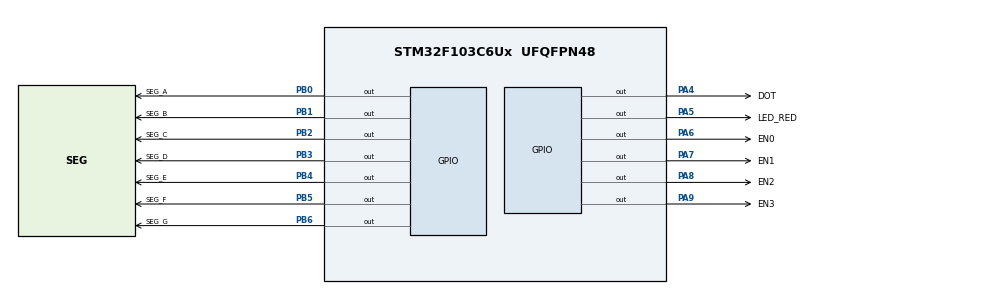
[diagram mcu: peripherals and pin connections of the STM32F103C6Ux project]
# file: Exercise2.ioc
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Mcu.Family=STM32F1
Mcu.Name=STM32F103C6Ux
Mcu.Package=UFQFPN48
NVIC.PriorityGroup=NVIC_PRIORITYGROUP_4
NVIC.TIM2_IRQn=true\:0\:0\:false\:false\:true\:true\:true
PA4.GPIO_Label=DOT
PA4.PinState=GPIO_PIN_SET
PA4.Signal=GPIO_Output
PA5.GPIO_Label=LED_RED
PA5.PinState=GPIO_PIN_SET
PA5.Signal=GPIO_Output
PA6.GPIO_Label=EN0
PA6.PinState=GPIO_PIN_SET
PA6.Signal=GPIO_Output
PA7.GPIO_Label=EN1
PA7.PinState=GPIO_PIN_SET
PA7.Signal=GPIO_Output
PA8.GPIO_Label=EN2
PA8.PinState=GPIO_PIN_SET
PA8.Signal=GPIO_Output
PA9.GPIO_Label=EN3
PA9.PinState=GPIO_PIN_SET
PA9.Signal=GPIO_Output
PB0.GPIO_Label=SEG_A
PB0.PinState=GPIO_PIN_SET
PB0.Signal=GPIO_Output
PB1.GPIO_Label=SEG_B
PB1.PinState=GPIO_PIN_SET
PB1.Signal=GPIO_Output
PB2.GPIO_Label=SEG_C
PB2.PinState=GPIO_PIN_SET
PB2.Signal=GPIO_Output
PB3.GPIO_Label=SEG_D
PB3.PinState=GPIO_PIN_SET
PB3.Signal=GPIO_Output
PB4.GPIO_Label=SEG_E
PB4.PinState=GPIO_PIN_SET
PB4.Signal=GPIO_Output
PB5.GPIO_Label=SEG_F
PB5.PinState=GPIO_PIN_SET
PB5.Signal=GPIO_Output
PB6.GPIO_Label=SEG_G
PB6.PinState=GPIO_PIN_SET
PB6.Signal=GPIO_Output
ProjectManager.HeapSize=0x200
ProjectManager.StackSize=0x400
ProjectManager.TargetToolchain=STM32CubeIDE
RCC.APB1Freq_Value=8000000
RCC.APB2Freq_Value=8000000
TIM2.Period=9
TIM2.Prescaler=7999
VP_SYS_VS_ND.Mode=No_Debug
VP_TIM2_VS_ClockSourceINT.Mode=Internal
board=custom

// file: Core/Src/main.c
/* USER CODE BEGIN Header */
/**
  ******************************************************************************
  * @file           : main.c
  * @brief          : Main program body
  ******************************************************************************
  * @attention
  *
  * <h2><center>&copy; Copyright (c) 2026 STMicroelectronics.
  * All rights reserved.</center></h2>
  *
  * This software component is licensed by ST under BSD 3-Clause license,
  * the "License"; You may not use this file except in compliance with the
  * License. You may obtain a copy of the License at:
  *                        opensource.org/licenses/BSD-3-Clause
  *
  ******************************************************************************
  */
/* USER CODE END Header */
#include "main.h"

TIM_HandleTypeDef htim2;

/* USER CODE BEGIN PV */
int state = 0;        // 0: hien 1 | 1: hien 2 | 2: hien 3 | 3: hien 0
int counter = 0;      // dem so lan ngat cho 7SEG (moi lan 10ms)
int led_state = 0;    // 0: DOT sang | 1: DOT tat
int led_counter = 0;  // dem so lan ngat cho DOT
/* USER CODE END PV */

void SystemClock_Config(void);
static void MX_GPIO_Init(void);
static void MX_TIM2_Init(void);
/* USER CODE BEGIN PFP */
void display7SEG(int num);
/* USER CODE END PFP */

int main(void)
{

  /* MCU Configuration--------------------------------------------------------*/

  /* Reset of all peripherals, Initializes the Flash interface and the Systick. */
  HAL_Init();

  /* Configure the system clock */
  SystemClock_Config();

  /* Initialize all configured peripherals */
  MX_GPIO_Init();
  MX_TIM2_Init();
  /* USER CODE BEGIN 2 */
  HAL_TIM_Base_Start_IT(&htim2);
  /* USER CODE END 2 */

  /* Infinite loop */
  while (1)
  {

  }
}

void SystemClock_Config(void)
{
  RCC_OscInitTypeDef RCC_OscInitStruct = {0};
  RCC_ClkInitTypeDef RCC_ClkInitStruct = {0};

  /** Initializes the RCC Oscillators according to the specified parameters
  * in the RCC_OscInitTypeDef structure.
  */
  RCC_OscInitStruct.OscillatorType = RCC_OSCILLATORTYPE_HSI;
  RCC_OscInitStruct.HSIState = RCC_HSI_ON;
  RCC_OscInitStruct.HSICalibrationValue = RCC_HSICALIBRATION_DEFAULT;
  RCC_OscInitStruct.PLL.PLLState = RCC_PLL_NONE;
  if (HAL_RCC_OscConfig(&RCC_OscInitStruct) != HAL_OK)
  {
    Error_Handler();
  }
  /** Initializes the CPU, AHB and APB buses clocks
  */
  RCC_ClkInitStruct.ClockType = RCC_CLOCKTYPE_HCLK|RCC_CLOCKTYPE_SYSCLK
                              |RCC_CLOCKTYPE_PCLK1|RCC_CLOCKTYPE_PCLK2;
  RCC_ClkInitStruct.SYSCLKSource = RCC_SYSCLKSOURCE_HSI;
  RCC_ClkInitStruct.AHBCLKDivider = RCC_SYSCLK_DIV1;
  RCC_ClkInitStruct.APB1CLKDivider = RCC_HCLK_DIV1;
  RCC_ClkInitStruct.APB2CLKDivider = RCC_HCLK_DIV1;

  if (HAL_RCC_ClockConfig(&RCC_ClkInitStruct, FLASH_LATENCY_0) != HAL_OK)
  {
    Error_Handler();
  }
}

static void MX_TIM2_Init(void)
{

  TIM_ClockConfigTypeDef sClockSourceConfig = {0};
  TIM_MasterConfigTypeDef sMasterConfig = {0};

  htim2.Instance = TIM2;
  htim2.Init.Prescaler = 7999;
  htim2.Init.CounterMode = TIM_COUNTERMODE_UP;
  htim2.Init.Period = 9;
  htim2.Init.ClockDivision = TIM_CLOCKDIVISION_DIV1;
  htim2.Init.AutoReloadPreload = TIM_AUTORELOAD_PRELOAD_DISABLE;
  if (HAL_TIM_Base_Init(&htim2) != HAL_OK)
  {
    Error_Handler();
  }
  sClockSourceConfig.ClockSource = TIM_CLOCKSOURCE_INTERNAL;
  if (HAL_TIM_ConfigClockSource(&htim2, &sClockSourceConfig) != HAL_OK)
  {
    Error_Handler();
  }
  sMasterConfig.MasterOutputTrigger = TIM_TRGO_RESET;
  sMasterConfig.MasterSlaveMode = TIM_MASTERSLAVEMODE_DISABLE;
  if (HAL_TIMEx_MasterConfigSynchronization(&htim2, &sMasterConfig) != HAL_OK)
  {
    Error_Handler();
  }

}

static void MX_GPIO_Init(void)
{
  GPIO_InitTypeDef GPIO_InitStruct = {0};

  /* GPIO Ports Clock Enable */
  __HAL_RCC_GPIOA_CLK_ENABLE();
  __HAL_RCC_GPIOB_CLK_ENABLE();

  /*Configure GPIO pin Output Level */
  HAL_GPIO_WritePin(GPIOA, DOT_Pin|LED_RED_Pin|EN0_Pin|EN1_Pin
                          |EN2_Pin|EN3_Pin, GPIO_PIN_SET);

  /*Configure GPIO pin Output Level */
  HAL_GPIO_WritePin(GPIOB, SEG_A_Pin|SEG_B_Pin|SEG_C_Pin|SEG_D_Pin
                          |SEG_E_Pin|SEG_F_Pin|SEG_G_Pin, GPIO_PIN_SET);

  /*Configure GPIO pins : DOT_Pin LED_RED_Pin EN0_Pin EN1_Pin
                           EN2_Pin EN3_Pin */
  GPIO_InitStruct.Pin = DOT_Pin|LED_RED_Pin|EN0_Pin|EN1_Pin
                          |EN2_Pin|EN3_Pin;
  GPIO_InitStruct.Mode = GPIO_MODE_OUTPUT_PP;
  GPIO_InitStruct.Pull = GPIO_NOPULL;
  GPIO_InitStruct.Speed = GPIO_SPEED_FREQ_LOW;
  HAL_GPIO_Init(GPIOA, &GPIO_InitStruct);

  /*Configure GPIO pins : SEG_A_Pin SEG_B_Pin SEG_C_Pin SEG_D_Pin
                           SEG_E_Pin SEG_F_Pin SEG_G_Pin */
  GPIO_InitStruct.Pin = SEG_A_Pin|SEG_B_Pin|SEG_C_Pin|SEG_D_Pin
                          |SEG_E_Pin|SEG_F_Pin|SEG_G_Pin;
  GPIO_InitStruct.Mode = GPIO_MODE_OUTPUT_PP;
  GPIO_InitStruct.Pull = GPIO_NOPULL;
  GPIO_InitStruct.Speed = GPIO_SPEED_FREQ_LOW;
  HAL_GPIO_Init(GPIOB, &GPIO_InitStruct);

}

/* USER CODE BEGIN 4 */
void display7SEG(int num)
{
    if (num == 0) {
        HAL_GPIO_WritePin(GPIOB, SEG_A_Pin, GPIO_PIN_RESET);
        HAL_GPIO_WritePin(GPIOB, SEG_B_Pin, GPIO_PIN_RESET);
        HAL_GPIO_WritePin(GPIOB, SEG_C_Pin, GPIO_PIN_RESET);
        HAL_GPIO_WritePin(GPIOB, SEG_D_Pin, GPIO_PIN_RESET);
        HAL_GPIO_WritePin(GPIOB, SEG_E_Pin, GPIO_PIN_RESET);
        HAL_GPIO_WritePin(GPIOB, SEG_F_Pin, GPIO_PIN_RESET);
        HAL_GPIO_WritePin(GPIOB, SEG_G_Pin, GPIO_PIN_SET);
    }
    else if (num == 1) {
        HAL_GPIO_WritePin(GPIOB, SEG_A_Pin, GPIO_PIN_SET);
        HAL_GPIO_WritePin(GPIOB, SEG_B_Pin, GPIO_PIN_RESET);
        HAL_GPIO_WritePin(GPIOB, SEG_C_Pin, GPIO_PIN_RESET);
        HAL_GPIO_WritePin(GPIOB, SEG_D_Pin, GPIO_PIN_SET);
        HAL_GPIO_WritePin(GPIOB, SEG_E_Pin, GPIO_PIN_SET);
        HAL_GPIO_WritePin(GPIOB, SEG_F_Pin, GPIO_PIN_SET);
        HAL_GPIO_WritePin(GPIOB, SEG_G_Pin, GPIO_PIN_SET);
    }
    else if (num == 2) {
        HAL_GPIO_WritePin(GPIOB, SEG_A_Pin, GPIO_PIN_RESET);
        HAL_GPIO_WritePin(GPIOB, SEG_B_Pin, GPIO_PIN_RESET);
        HAL_GPIO_WritePin(GPIOB, SEG_C_Pin, GPIO_PIN_SET);
        HAL_GPIO_WritePin(GPIOB, SEG_D_Pin, GPIO_PIN_RESET);
        HAL_GPIO_WritePin(GPIOB, SEG_E_Pin, GPIO_PIN_RESET);
        HAL_GPIO_WritePin(GPIOB, SEG_F_Pin, GPIO_PIN_SET);
        HAL_GPIO_WritePin(GPIOB, SEG_G_Pin, GPIO_PIN_RESET);
    }
    else if (num == 3) {
        HAL_GPIO_WritePin(GPIOB, SEG_A_Pin, GPIO_PIN_RESET);
        HAL_GPIO_WritePin(GPIOB, SEG_B_Pin, GPIO_PIN_RESET);
        HAL_GPIO_WritePin(GPIOB, SEG_C_Pin, GPIO_PIN_RESET);
        HAL_GPIO_WritePin(GPIOB, SEG_D_Pin, GPIO_PIN_RESET);
        HAL_GPIO_WritePin(GPIOB, SEG_E_Pin, GPIO_PIN_SET);
        HAL_GPIO_WritePin(GPIOB, SEG_F_Pin, GPIO_PIN_SET);
        HAL_GPIO_WritePin(GPIOB, SEG_G_Pin, GPIO_PIN_RESET);
    }
    else if (num == 4) {
        HAL_GPIO_WritePin(GPIOB, SEG_A_Pin, GPIO_PIN_SET);
        HAL_GPIO_WritePin(GPIOB, SEG_B_Pin, GPIO_PIN_RESET);
        HAL_GPIO_WritePin(GPIOB, SEG_C_Pin, GPIO_PIN_RESET);
        HAL_GPIO_WritePin(GPIOB, SEG_D_Pin, GPIO_PIN_SET);
        HAL_GPIO_WritePin(GPIOB, SEG_E_Pin, GPIO_PIN_SET);
        HAL_GPIO_WritePin(GPIOB, SEG_F_Pin, GPIO_PIN_RESET);
        HAL_GPIO_WritePin(GPIOB, SEG_G_Pin, GPIO_PIN_RESET);
    }
    else if (num == 5) {
        HAL_GPIO_WritePin(GPIOB, SEG_A_Pin, GPIO_PIN_RESET);
        HAL_GPIO_WritePin(GPIOB, SEG_B_Pin, GPIO_PIN_SET);
        HAL_GPIO_WritePin(GPIOB, SEG_C_Pin, GPIO_PIN_RESET);
        HAL_GPIO_WritePin(GPIOB, SEG_D_Pin, GPIO_PIN_RESET);
        HAL_GPIO_WritePin(GPIOB, SEG_E_Pin, GPIO_PIN_SET);
        HAL_GPIO_WritePin(GPIOB, SEG_F_Pin, GPIO_PIN_RESET);
        HAL_GPIO_WritePin(GPIOB, SEG_G_Pin, GPIO_PIN_RESET);
    }
    else if (num == 6) {
        HAL_GPIO_WritePin(GPIOB, SEG_A_Pin, GPIO_PIN_RESET);
        HAL_GPIO_WritePin(GPIOB, SEG_B_Pin, GPIO_PIN_SET);
        HAL_GPIO_WritePin(GPIOB, SEG_C_Pin, GPIO_PIN_RESET);
        HAL_GPIO_WritePin(GPIOB, SEG_D_Pin, GPIO_PIN_RESET);
        HAL_GPIO_WritePin(GPIOB, SEG_E_Pin, GPIO_PIN_RESET);
        HAL_GPIO_WritePin(GPIOB, SEG_F_Pin, GPIO_PIN_RESET);
        HAL_GPIO_WritePin(GPIOB, SEG_G_Pin, GPIO_PIN_RESET);
    }
    else if (num == 7) {
        HAL_GPIO_WritePin(GPIOB, SEG_A_Pin, GPIO_PIN_RESET);
        HAL_GPIO_WritePin(GPIOB, SEG_B_Pin, GPIO_PIN_RESET);
        HAL_GPIO_WritePin(GPIOB, SEG_C_Pin, GPIO_PIN_RESET);
        HAL_GPIO_WritePin(GPIOB, SEG_D_Pin, GPIO_PIN_SET);
        HAL_GPIO_WritePin(GPIOB, SEG_E_Pin, GPIO_PIN_SET);
        HAL_GPIO_WritePin(GPIOB, SEG_F_Pin, GPIO_PIN_SET);
        HAL_GPIO_WritePin(GPIOB, SEG_G_Pin, GPIO_PIN_SET);
    }
    else if (num == 8) {
        HAL_GPIO_WritePin(GPIOB, SEG_A_Pin, GPIO_PIN_RESET);
        HAL_GPIO_WritePin(GPIOB, SEG_B_Pin, GPIO_PIN_RESET);
        HAL_GPIO_WritePin(GPIOB, SEG_C_Pin, GPIO_PIN_RESET);
        HAL_GPIO_WritePin(GPIOB, SEG_D_Pin, GPIO_PIN_RESET);
        HAL_GPIO_WritePin(GPIOB, SEG_E_Pin, GPIO_PIN_RESET);
        HAL_GPIO_WritePin(GPIOB, SEG_F_Pin, GPIO_PIN_RESET);
        HAL_GPIO_WritePin(GPIOB, SEG_G_Pin, GPIO_PIN_RESET);
    }
    else if (num == 9) {
        HAL_GPIO_WritePin(GPIOB, SEG_A_Pin, GPIO_PIN_RESET);
        HAL_GPIO_WritePin(GPIOB, SEG_B_Pin, GPIO_PIN_RESET);
        HAL_GPIO_WritePin(GPIOB, SEG_C_Pin, GPIO_PIN_RESET);
        HAL_GPIO_WritePin(GPIOB, SEG_D_Pin, GPIO_PIN_RESET);
        HAL_GPIO_WritePin(GPIOB, SEG_E_Pin, GPIO_PIN_SET);
        HAL_GPIO_WritePin(GPIOB, SEG_F_Pin, GPIO_PIN_RESET);
        HAL_GPIO_WritePin(GPIOB, SEG_G_Pin, GPIO_PIN_RESET);
    }
    else {
        HAL_GPIO_WritePin(GPIOB, SEG_A_Pin, GPIO_PIN_SET);
        HAL_GPIO_WritePin(GPIOB, SEG_B_Pin, GPIO_PIN_SET);
        HAL_GPIO_WritePin(GPIOB, SEG_C_Pin, GPIO_PIN_SET);
        HAL_GPIO_WritePin(GPIOB, SEG_D_Pin, GPIO_PIN_SET);
        HAL_GPIO_WritePin(GPIOB, SEG_E_Pin, GPIO_PIN_SET);
        HAL_GPIO_WritePin(GPIOB, SEG_F_Pin, GPIO_PIN_SET);
        HAL_GPIO_WritePin(GPIOB, SEG_G_Pin, GPIO_PIN_SET);
    }
}

void HAL_TIM_PeriodElapsedCallback(TIM_HandleTypeDef *htim)
{
    if (htim->Instance != TIM2) return;

    // ---- Hai LED DOT (PA4): doi trang thai moi 1s (100 x 10ms) ----
    switch (led_state) {
        case 0:
            HAL_GPIO_WritePin(DOT_GPIO_Port, DOT_Pin, GPIO_PIN_RESET); // sang
            if (led_counter >= 100) {
                led_counter = 0;
                led_state = 1;
            }
            break;
        case 1:
            HAL_GPIO_WritePin(DOT_GPIO_Port, DOT_Pin, GPIO_PIN_SET);   // tat
            if (led_counter >= 100) {
                led_counter = 0;
                led_state = 0;
            }
            break;
        default:
            break;
    }
    led_counter++;

    // ---- 4 LED 7 doan: moi LED 500ms (50 x 10ms) ----
    switch (state) {
        case 0:   // LED 1 hien so 1
            HAL_GPIO_WritePin(EN0_GPIO_Port, EN0_Pin, GPIO_PIN_RESET);
            HAL_GPIO_WritePin(EN1_GPIO_Port, EN1_Pin, GPIO_PIN_SET);
            HAL_GPIO_WritePin(EN2_GPIO_Port, EN2_Pin, GPIO_PIN_SET);
            HAL_GPIO_WritePin(EN3_GPIO_Port, EN3_Pin, GPIO_PIN_SET);
            display7SEG(1);
            if (counter >= 50) {
                counter = 0;
                state = 1;
            }
            break;
        case 1:   // LED 2 hien so 2
            HAL_GPIO_WritePin(EN0_GPIO_Port, EN0_Pin, GPIO_PIN_SET);
            HAL_GPIO_WritePin(EN1_GPIO_Port, EN1_Pin, GPIO_PIN_RESET);
            HAL_GPIO_WritePin(EN2_GPIO_Port, EN2_Pin, GPIO_PIN_SET);
            HAL_GPIO_WritePin(EN3_GPIO_Port, EN3_Pin, GPIO_PIN_SET);
            display7SEG(2);
            if (counter >= 50) {
                counter = 0;
                state = 2;
            }
            break;
        case 2:   // LED 3 hien so 3
            HAL_GPIO_WritePin(EN0_GPIO_Port, EN0_Pin, GPIO_PIN_SET);
            HAL_GPIO_WritePin(EN1_GPIO_Port, EN1_Pin, GPIO_PIN_SET);
            HAL_GPIO_WritePin(EN2_GPIO_Port, EN2_Pin, GPIO_PIN_RESET);
            HAL_GPIO_WritePin(EN3_GPIO_Port, EN3_Pin, GPIO_PIN_SET);
            display7SEG(3);
            if (counter >= 50) {
                counter = 0;
                state = 3;
            }
            break;
        case 3:   // LED 4 hien so 0
            HAL_GPIO_WritePin(EN0_GPIO_Port, EN0_Pin, GPIO_PIN_SET);
            HAL_GPIO_WritePin(EN1_GPIO_Port, EN1_Pin, GPIO_PIN_SET);
            HAL_GPIO_WritePin(EN2_GPIO_Port, EN2_Pin, GPIO_PIN_SET);
            HAL_GPIO_WritePin(EN3_GPIO_Port, EN3_Pin, GPIO_PIN_RESET);
            display7SEG(0);
            if (counter >= 50) {
                counter = 0;
                state = 0;
            }
            break;
        default:
            break;
    }
    counter++;
}
/* USER CODE END 4 */

void Error_Handler(void)
{
  __disable_irq();
  while (1)
  {
  }
}

/************************ (C) COPYRIGHT STMicroelectronics *****END OF FILE****/
